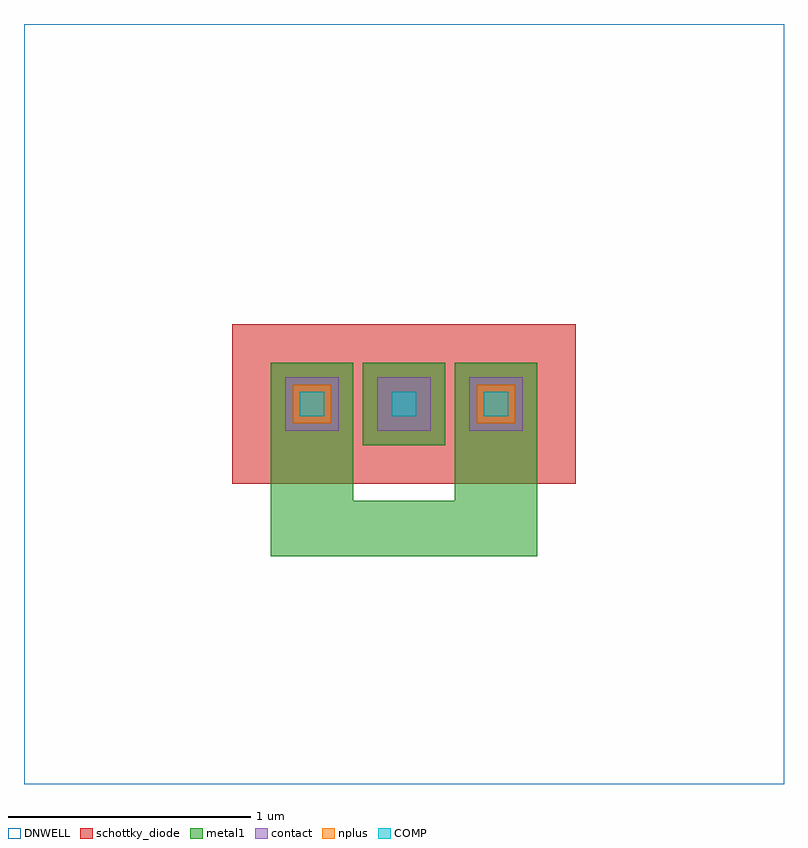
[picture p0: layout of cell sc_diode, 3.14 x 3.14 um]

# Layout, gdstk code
import gdstk
lib = gdstk.Library(unit=1e-6, precision=1e-09)
def R(c, l, rs):  # rectangles x0, y0, x1, y1
    for r in rs: c.add(gdstk.rectangle(r[:2], r[2:], *l))
DNWELL = (12, 0)
COMP = (22, 0)
nplus = (32, 0)
contact = (33, 0)
metal1 = (34, 0)
schottky_diode = (241, 0)

compass_5c90cb24 = lib.new_cell('compass_5c90cb24')
R(compass_5c90cb24, COMP, [(-0.05,-0.05,0.05,0.05)])

rectangle_5c90cb24 = lib.new_cell('rectangle_5c90cb24')
rectangle_5c90cb24.add(gdstk.Reference(compass_5c90cb24, (0.05,0.05)))

compass_eeb2af7d = lib.new_cell('compass_eeb2af7d')
R(compass_eeb2af7d, nplus, [(-0.08,-0.08,0.08,0.08)])

rectangle_eeb2af7d = lib.new_cell('rectangle_eeb2af7d')
rectangle_eeb2af7d.add(gdstk.Reference(compass_eeb2af7d, (0.08,0.08)))

compass_f38dc993 = lib.new_cell('compass_f38dc993')
R(compass_f38dc993, contact, [(-0.11,-0.11,0.11,0.11)])

rectangle_f38dc993 = lib.new_cell('rectangle_f38dc993')
rectangle_f38dc993.add(gdstk.Reference(compass_f38dc993, (0.11,0.11)))

via_generator_fb634f5e = lib.new_cell('via_generator_fb634f5e')
r = gdstk.Reference(rectangle_f38dc993, (-0.06,-0.06)); r.repetition = gdstk.Repetition(1, 1, v1=(0.5,0), v2=(0,0.5)); via_generator_fb634f5e.add(r)

compass_02b66c81 = lib.new_cell('compass_02b66c81')
R(compass_02b66c81, metal1, [(-0.17,-0.17,0.17,0.17)])

rectangle_02b66c81 = lib.new_cell('rectangle_02b66c81')
rectangle_02b66c81.add(gdstk.Reference(compass_02b66c81, (0.17,0.17)))

via_stack_e72d222e = lib.new_cell('via_stack_e72d222e')
via_stack_e72d222e.add(gdstk.Reference(via_generator_fb634f5e, (0,0)))
via_stack_e72d222e.add(gdstk.Reference(rectangle_02b66c81, (-0.12,-0.12)))

sc_cathode_strap = lib.new_cell('sc_cathode_strap')
sc_cathode_strap.add(gdstk.Reference(rectangle_5c90cb24, (0,0)))
sc_cathode_strap.add(gdstk.Reference(rectangle_eeb2af7d, (-0.03,-0.03)))
sc_cathode_strap.add(gdstk.Reference(via_stack_e72d222e, (0,0)))

compass_82f07c46 = lib.new_cell('compass_82f07c46')
R(compass_82f07c46, metal1, [(-0.17,-0.115,0.17,0.115)])

rectangle_82f07c46 = lib.new_cell('rectangle_82f07c46')
rectangle_82f07c46.add(gdstk.Reference(compass_82f07c46, (0.17,0.115)))

compass_23aef081 = lib.new_cell('compass_23aef081')
R(compass_23aef081, metal1, [(-0.55,-0.115,0.55,0.115)])

rectangle_23aef081 = lib.new_cell('rectangle_23aef081')
rectangle_23aef081.add(gdstk.Reference(compass_23aef081, (0.55,0.115)))

sc_anode_strap = lib.new_cell('sc_anode_strap')
sc_anode_strap.add(gdstk.Reference(rectangle_5c90cb24, (0,0)))
sc_anode_strap.add(gdstk.Reference(via_stack_e72d222e, (0,0)))

compass_9fd9de98 = lib.new_cell('compass_9fd9de98')
R(compass_9fd9de98, schottky_diode, [(-0.71,-0.33,0.71,0.33)])

rectangle_9fd9de98 = lib.new_cell('rectangle_9fd9de98')
rectangle_9fd9de98.add(gdstk.Reference(compass_9fd9de98, (0.71,0.33)))

compass_79cb014a = lib.new_cell('compass_79cb014a')
R(compass_79cb014a, DNWELL, [(-1.57,-1.57,1.57,1.57)])

rectangle_79cb014a = lib.new_cell('rectangle_79cb014a')
rectangle_79cb014a.add(gdstk.Reference(compass_79cb014a, (1.57,1.57)))

sc_diode = lib.new_cell('sc_diode')
r = gdstk.Reference(sc_cathode_strap, (0,0)); r.repetition = gdstk.Repetition(2, 1, v1=(0.76,0), v2=(0,1)); sc_diode.add(r)
r = gdstk.Reference(rectangle_82f07c46, (-0.12,-0.35)); r.repetition = gdstk.Repetition(2, 1, v1=(0.76,0), v2=(0,1)); sc_diode.add(r)
sc_diode.add(gdstk.Reference(rectangle_23aef081, (-0.12,-0.58)))
r = gdstk.Reference(sc_anode_strap, (0.38,0)); r.repetition = gdstk.Repetition(1, 1, v1=(0.76,0), v2=(0,1)); sc_diode.add(r)
sc_diode.add(gdstk.Reference(rectangle_9fd9de98, (-0.28,-0.28)))
sc_diode.add(gdstk.Reference(rectangle_79cb014a, (-1.14,-1.52)))

lib.write_gds('sc_diode.gds')
